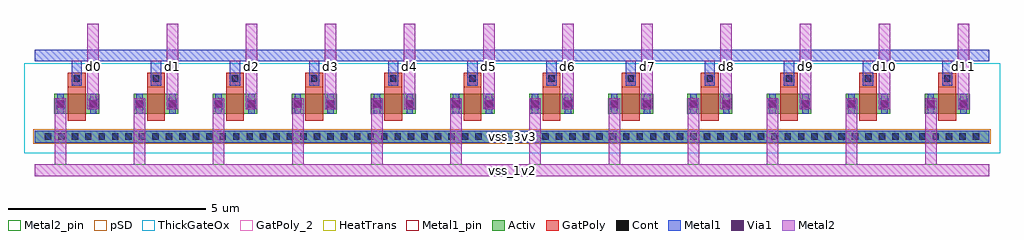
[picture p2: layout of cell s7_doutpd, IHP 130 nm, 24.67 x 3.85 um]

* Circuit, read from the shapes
.subckt s7_doutpd d0 d1 d10 d11 d2 d3 d4 d5 d6 d7 d8 d9 vdd_1v2 vss_1v2 vss_3v3
XM1 d0 vdd_1v2 vss_1v2 vss_3v3 sg13_hv_nmos w=0.5u l=0.45u
XM2 d1 vdd_1v2 vss_1v2 vss_3v3 sg13_hv_nmos w=0.5u l=0.45u
XM3 d2 vdd_1v2 vss_1v2 vss_3v3 sg13_hv_nmos w=0.5u l=0.45u
XM4 d3 vdd_1v2 vss_1v2 vss_3v3 sg13_hv_nmos w=0.5u l=0.45u
XM5 d4 vdd_1v2 vss_1v2 vss_3v3 sg13_hv_nmos w=0.5u l=0.45u
XM6 d5 vdd_1v2 vss_1v2 vss_3v3 sg13_hv_nmos w=0.5u l=0.45u
XM7 d6 vdd_1v2 vss_1v2 vss_3v3 sg13_hv_nmos w=0.5u l=0.45u
XM8 d7 vdd_1v2 vss_1v2 vss_3v3 sg13_hv_nmos w=0.5u l=0.45u
XM9 d8 vdd_1v2 vss_1v2 vss_3v3 sg13_hv_nmos w=0.5u l=0.45u
XM10 d9 vdd_1v2 vss_1v2 vss_3v3 sg13_hv_nmos w=0.5u l=0.45u
XM11 d10 vdd_1v2 vss_1v2 vss_3v3 sg13_hv_nmos w=0.5u l=0.45u
XM12 d11 vdd_1v2 vss_1v2 vss_3v3 sg13_hv_nmos w=0.5u l=0.45u
.ends

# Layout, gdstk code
import gdstk
lib = gdstk.Library(unit=1e-6, precision=1e-09)
def R(c, l, rs):  # rectangles x0, y0, x1, y1
    for r in rs: c.add(gdstk.rectangle(r[:2], r[2:], *l))
def A(c, l, x, y, w, h, nx, ny, dx, dy):  # array of equal rectangles
    R(c, l, [(x+i*dx, y+j*dy, x+i*dx+w, y+j*dy+h) for i in range(nx) for j in range(ny)])
Activ = (1, 0)
GatPoly = (5, 0)
GatPoly_2 = (5, 2)
Cont = (6, 0)
Metal1 = (8, 0)
Metal1_pin = (8, 2)
Metal2 = (10, 0)
Metal2_pin = (10, 2)
pSD = (14, 0)
Via1 = (19, 0)
ThickGateOx = (44, 0)
HeatTrans = (51, 0)

dop_nmoshv_w0p5_l0p45 = lib.new_cell('dop_nmosHV_w0p5_l0p45')
R(dop_nmoshv_w0p5_l0p45, Activ, [(0,0,0.3,0.3), (0,0,1.13,0.5), (0.83,0,1.13,0.3)])
R(dop_nmoshv_w0p5_l0p45, GatPoly, [(0.34,-0.18,0.79,0.68)])
R(dop_nmoshv_w0p5_l0p45, GatPoly_2, [(0.34,-0.18,0.79,0.68)])
R(dop_nmoshv_w0p5_l0p45, Cont, [(0.07,0.17,0.23,0.33), (0.9,0.17,1.06,0.33)])
R(dop_nmoshv_w0p5_l0p45, Metal1, [(0.07,0,0.23,0.5), (0.9,0,1.06,0.5)])
R(dop_nmoshv_w0p5_l0p45, Metal1_pin, [(0.07,0,0.23,0.5), (0.9,0,1.06,0.5)])
R(dop_nmoshv_w0p5_l0p45, ThickGateOx, [(-0.27,-0.52,1.4,1.02)])
R(dop_nmoshv_w0p5_l0p45, HeatTrans, [(0.34,-0.18,0.79,0.68)])
dop_nmoshv_w0p5_l0p45.add(gdstk.Label('nmosHV', (0.565,0.25), layer=63, texttype=0))
dop_nmoshv_w0p5_l0p45.add(gdstk.Label('nmosHV', (0.565,0.25), layer=51, texttype=0))

s7_doutpd = lib.new_cell('s7_doutpd')
R(s7_doutpd, Activ, [(0.5,0,24.63,0.3)])
A(s7_doutpd, GatPoly, 1.34, 1.41, 0.45, 0.36, 12, 1, 2, 0)
A(s7_doutpd, Cont, 0.755, 0.07, 0.16, 0.16, 70, 1, 0.34, 0)
A(s7_doutpd, Cont, 1.485, 1.54, 0.16, 0.16, 12, 1, 2, 0)
A(s7_doutpd, Metal1, 1.435, 1.44, 0.26, 0.91, 12, 1, 2, 0)
R(s7_doutpd, Metal1, [(0.5,0,24.63,0.3), (1.045,0.835,1.255,1.125), (1.875,0.835,2.085,1.125), (3.045,0.835,3.255,1.125), (3.875,0.835,4.085,1.125), (5.045,0.835,5.255,1.125), (5.875,0.835,6.085,1.125), (7.045,0.835,7.255,1.125), (7.875,0.835,8.085,1.125), (9.045,0.835,9.255,1.125), (9.875,0.835,10.085,1.125), (11.045,0.835,11.255,1.125), (11.875,0.835,12.085,1.125), (13.045,0.835,13.255,1.125), (13.875,0.835,14.085,1.125), (15.045,0.835,15.255,1.125), (15.875,0.835,16.085,1.125), (17.045,0.835,17.255,1.125), (17.875,0.835,18.085,1.125), (19.045,0.835,19.255,1.125), (19.875,0.835,20.085,1.125), (21.045,0.835,21.255,1.125), (21.875,0.835,22.085,1.125), (23.045,0.835,23.255,1.125), (23.875,0.835,24.085,1.125), (0.5,2.05,24.63,2.35)])
R(s7_doutpd, Metal1_pin, [(0.5,0,24.63,0.3), (0.5,2.05,24.63,2.35)])
A(s7_doutpd, Metal2, 1.005, -0.85, 0.29, 1.975, 12, 1, 2, 0)
A(s7_doutpd, Metal2, 1.835, 0.835, 0.29, 2.165, 12, 1, 2, 0)
R(s7_doutpd, Metal2, [(0.5,-0.85,24.63,-0.55)])
A(s7_doutpd, Metal2_pin, 1.835, 0.835, 0.29, 2.165, 12, 1, 2, 0)
R(s7_doutpd, Metal2_pin, [(0.5,-0.85,24.63,-0.55)])
R(s7_doutpd, pSD, [(0.47,-0.03,24.66,0.33)])
R(s7_doutpd, Via1, [(1.055,0.885,1.245,1.075), (1.885,0.885,2.075,1.075), (3.055,0.885,3.245,1.075), (3.885,0.885,4.075,1.075), (5.055,0.885,5.245,1.075), (5.885,0.885,6.075,1.075), (7.055,0.885,7.245,1.075), (7.885,0.885,8.075,1.075), (9.055,0.885,9.245,1.075), (9.885,0.885,10.075,1.075), (11.055,0.885,11.245,1.075), (11.885,0.885,12.075,1.075), (13.055,0.885,13.245,1.075), (13.885,0.885,14.075,1.075), (15.055,0.885,15.245,1.075), (15.885,0.885,16.075,1.075), (17.055,0.885,17.245,1.075), (17.885,0.885,18.075,1.075), (19.055,0.885,19.245,1.075), (19.885,0.885,20.075,1.075), (21.055,0.885,21.245,1.075), (21.885,0.885,22.075,1.075), (23.055,0.885,23.245,1.075), (23.885,0.885,24.075,1.075)])
R(s7_doutpd, ThickGateOx, [(0.23,-0.27,24.9,2)])
s7_doutpd.add(gdstk.Reference(dop_nmoshv_w0p5_l0p45, (1,0.73)))
s7_doutpd.add(gdstk.Reference(dop_nmoshv_w0p5_l0p45, (3,0.73)))
s7_doutpd.add(gdstk.Reference(dop_nmoshv_w0p5_l0p45, (5,0.73)))
s7_doutpd.add(gdstk.Reference(dop_nmoshv_w0p5_l0p45, (7,0.73)))
s7_doutpd.add(gdstk.Reference(dop_nmoshv_w0p5_l0p45, (9,0.73)))
s7_doutpd.add(gdstk.Reference(dop_nmoshv_w0p5_l0p45, (11,0.73)))
s7_doutpd.add(gdstk.Reference(dop_nmoshv_w0p5_l0p45, (13,0.73)))
s7_doutpd.add(gdstk.Reference(dop_nmoshv_w0p5_l0p45, (15,0.73)))
s7_doutpd.add(gdstk.Reference(dop_nmoshv_w0p5_l0p45, (17,0.73)))
s7_doutpd.add(gdstk.Reference(dop_nmoshv_w0p5_l0p45, (19,0.73)))
s7_doutpd.add(gdstk.Reference(dop_nmoshv_w0p5_l0p45, (21,0.73)))
s7_doutpd.add(gdstk.Reference(dop_nmoshv_w0p5_l0p45, (23,0.73)))
s7_doutpd.add(gdstk.Label('d0', (1.98,1.918), layer=10, texttype=25))
s7_doutpd.add(gdstk.Label('d1', (3.98,1.918), layer=10, texttype=25))
s7_doutpd.add(gdstk.Label('d2', (5.98,1.918), layer=10, texttype=25))
s7_doutpd.add(gdstk.Label('d3', (7.98,1.918), layer=10, texttype=25))
s7_doutpd.add(gdstk.Label('d4', (9.98,1.918), layer=10, texttype=25))
s7_doutpd.add(gdstk.Label('d5', (11.98,1.918), layer=10, texttype=25))
s7_doutpd.add(gdstk.Label('d6', (13.98,1.918), layer=10, texttype=25))
s7_doutpd.add(gdstk.Label('d7', (15.98,1.918), layer=10, texttype=25))
s7_doutpd.add(gdstk.Label('d8', (17.98,1.918), layer=10, texttype=25))
s7_doutpd.add(gdstk.Label('d9', (19.98,1.918), layer=10, texttype=25))
s7_doutpd.add(gdstk.Label('d10', (21.98,1.918), layer=10, texttype=25))
s7_doutpd.add(gdstk.Label('d11', (23.98,1.918), layer=10, texttype=25))
s7_doutpd.add(gdstk.Label('vss_1v2', (12.565,-0.7), layer=10, texttype=25))
s7_doutpd.add(gdstk.Label('vss_3v3', (12.565,0.15), layer=8, texttype=25))
s7_doutpd.add(gdstk.Label('vdd_1v2', (12.565,2.2), layer=8, texttype=25))

lib.write_gds('s7_doutpd.gds')
